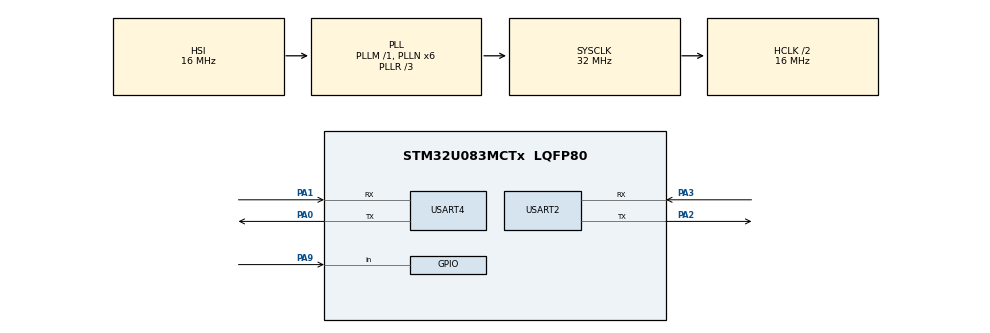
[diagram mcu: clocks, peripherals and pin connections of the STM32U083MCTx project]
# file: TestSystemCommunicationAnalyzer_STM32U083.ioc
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Mcu.Family=STM32U0
Mcu.Name=STM32U083MCTx
Mcu.Package=LQFP80
NVIC.PriorityGroup=NVIC_PRIORITYGROUP_2
NVIC.USART2_LPUART2_IRQn=true\:0\:0\:false\:false\:true\:true\:true\:true
NVIC.USART4_LPUART3_IRQn=true\:0\:0\:false\:false\:true\:true\:true\:true
PA0.Mode=Asynchronous
PA0.Signal=USART4_TX
PA1.Mode=Asynchronous
PA1.Signal=USART4_RX
PA2.Mode=Asynchronous
PA2.Signal=USART2_TX
PA3.Mode=Asynchronous
PA3.Signal=USART2_RX
PA9.Signal=GPIO_Input
ProjectManager.HeapSize=0x200
ProjectManager.StackSize=0x400
ProjectManager.TargetToolchain=MDK-ARM V5.39
RCC.ADCFreq_Value=32000000
RCC.AHBCLKDivider=RCC_SYSCLK_DIV2
RCC.AHBFreq_Value=16000000
RCC.CortexFreq_Value=16000000
RCC.HCLKFreq_Value=16000000
RCC.HSE_VALUE=4000000
RCC.HSI48_VALUE=48000000
RCC.HSI_VALUE=16000000
RCC.LSE_VALUE=32768
RCC.MSI_VALUE=4000000
RCC.PLLN=6
RCC.PLLR=RCC_PLLR_DIV3
RCC.SYSCLKFreq_VALUE=32000000
RCC.SYSCLKSource=RCC_SYSCLKSOURCE_PLLCLK
RCC.VCOOutputFreq_Value=96000000
USART2.VirtualMode-Asynchronous=VM_ASYNC
USART4.VirtualMode-Asynchronous=VM_ASYNC
VP_PWR_VS_SECSignals.Mode=Security/Privilege
board=custom

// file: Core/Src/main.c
/* USER CODE BEGIN Header */
/**
 ******************************************************************************
 * @file           : main.c
 * @brief          : Main program body
 ******************************************************************************
 * @attention
 *
 * Copyright (c) 2026 STMicroelectronics.
 * All rights reserved.
 *
 * This software is licensed under terms that can be found in the LICENSE file
 * in the root directory of this software component.
 * If no LICENSE file comes with this software, it is provided AS-IS.
 *
 ******************************************************************************
 */
/* USER CODE END Header */
#include "main.h"

/* USER CODE BEGIN Includes */
#include "stdio.h"
#include "stdint.h"
#include "stdbool.h"
#include "string.h"
/* USER CODE END Includes */

/* USER CODE BEGIN PD */
#define SUCCESS 1
#define FAILURE 0
/* USER CODE END PD */

UART_HandleTypeDef huart2;
UART_HandleTypeDef huart4;

void SystemClock_Config(void);
static void MX_GPIO_Init(void);
static void MX_USART4_UART_Init(void);
static void MX_USART2_UART_Init(void);

/* USER CODE BEGIN 0 */
typedef enum
{
  STATE_1 = 1,
  STATE_2,
  STATE_3,
  STATE_4,
  STATE_5,
  STATE_6
} AppState;

char rxBuffer[32];
uint8_t rxByte;
uint8_t rxIndex = 0;
uint8_t testStarted = 0;

void UART_SendLine(const char *msg)
{
  char buf[256];
  int len = snprintf(buf, sizeof(buf), "\r%s\n", msg);

  // TX öncesi RX interrupt'ı durdur
  HAL_UART_AbortReceive(&huart4);
  HAL_UART_Transmit(&huart4, (uint8_t *)buf, len, 100);
  HAL_UART_Receive_IT(&huart4, &rxByte, 1);
}

void HAL_UART_RxCpltCallback(UART_HandleTypeDef *huart)
{
  if (huart->Instance == USART4)
  {
    if (rxByte == '\r')
    {
      rxIndex = 0;
      memset(rxBuffer, 0, sizeof(rxBuffer));
    }
    else if (rxByte == '\n')
    {
      if (strcmp(rxBuffer, "START") == 0)
      {
        testStarted = 1;
      }
      rxIndex = 0;
      memset(rxBuffer, 0, sizeof(rxBuffer));
    }
    else
    {
      if (rxIndex < sizeof(rxBuffer) - 1)
      {
        rxBuffer[rxIndex++] = rxByte;
      }
    }

    // Bir sonraki byte için tekrar interrupt aç
    HAL_UART_Receive_IT(&huart4, &rxByte, 1);
  }
}
/* USER CODE END 0 */

int main(void)
{

  /* MCU Configuration--------------------------------------------------------*/

  /* Reset of all peripherals, Initializes the Flash interface and the Systick. */
  HAL_Init();

  /* Configure the system clock */
  SystemClock_Config();

  /* Initialize all configured peripherals */
  MX_GPIO_Init();
  MX_USART4_UART_Init();
  MX_USART2_UART_Init();
  /* USER CODE BEGIN 2 */
  HAL_UART_Receive_IT(&huart4, &rxByte, 1);
  /* USER CODE END 2 */

  /* Infinite loop */
  /* USER CODE BEGIN WHILE */
  AppState currentState = STATE_1;
  while (1)
  {
    /* USER CODE END WHILE */

    /* USER CODE BEGIN 3 */
    if (testStarted)
    {
      testStarted = 0; // Bir kere çalıştır

      bool testFailed = false;
      currentState = STATE_1; // Her testte baştan başla

      while (currentState <= STATE_6 && !testFailed)
      {
        char checkMsg[32], resultMsg[32];
        snprintf(checkMsg, sizeof(checkMsg), "Scenario %d checking...", currentState);
        UART_SendLine(checkMsg);
        HAL_Delay(3000);

        // Gerçek testte buraya donanım kontrolü gelecek
        // Şimdilik demo: hepsini success yap
        uint8_t result = currentState == STATE_6 ? FAILURE : SUCCESS;

        if (result == SUCCESS)
        {
          snprintf(resultMsg, sizeof(resultMsg), "Scenario %d is success", currentState);
          UART_SendLine(resultMsg);
          HAL_Delay(500);
          currentState++;
        }
        else
        {
          snprintf(resultMsg, sizeof(resultMsg), "Scenario %d is fail", currentState);
          UART_SendLine(resultMsg);
          HAL_Delay(500);
          testFailed = true;
        }
      }

      UART_SendLine("Test stopped!");
    }
    HAL_Delay(100);
    /* USER CODE END 3 */
  }
}
void SystemClock_Config(void)
{
  RCC_OscInitTypeDef RCC_OscInitStruct = {0};
  RCC_ClkInitTypeDef RCC_ClkInitStruct = {0};

  /** Configure the main internal regulator output voltage
   */
  HAL_PWREx_ControlVoltageScaling(PWR_REGULATOR_VOLTAGE_SCALE2);

  /** Initializes the RCC Oscillators according to the specified parameters
   * in the RCC_OscInitTypeDef structure.
   */
  RCC_OscInitStruct.OscillatorType = RCC_OSCILLATORTYPE_HSI;
  RCC_OscInitStruct.HSIState = RCC_HSI_ON;
  RCC_OscInitStruct.HSICalibrationValue = RCC_HSICALIBRATION_DEFAULT;
  RCC_OscInitStruct.PLL.PLLState = RCC_PLL_ON;
  RCC_OscInitStruct.PLL.PLLSource = RCC_PLLSOURCE_HSI;
  RCC_OscInitStruct.PLL.PLLM = RCC_PLLM_DIV1;
  RCC_OscInitStruct.PLL.PLLN = 6;
  RCC_OscInitStruct.PLL.PLLP = RCC_PLLP_DIV2;
  RCC_OscInitStruct.PLL.PLLQ = RCC_PLLQ_DIV2;
  RCC_OscInitStruct.PLL.PLLR = RCC_PLLR_DIV3;
  if (HAL_RCC_OscConfig(&RCC_OscInitStruct) != HAL_OK)
  {
    Error_Handler();
  }

  /** Initializes the CPU, AHB and APB buses clocks
   */
  RCC_ClkInitStruct.ClockType = RCC_CLOCKTYPE_HCLK | RCC_CLOCKTYPE_SYSCLK | RCC_CLOCKTYPE_PCLK1;
  RCC_ClkInitStruct.SYSCLKSource = RCC_SYSCLKSOURCE_PLLCLK;
  RCC_ClkInitStruct.AHBCLKDivider = RCC_SYSCLK_DIV2;
  RCC_ClkInitStruct.APB1CLKDivider = RCC_HCLK_DIV1;

  if (HAL_RCC_ClockConfig(&RCC_ClkInitStruct, FLASH_LATENCY_1) != HAL_OK)
  {
    Error_Handler();
  }
}

static void MX_USART2_UART_Init(void)
{

  huart2.Instance = USART2;
  huart2.Init.BaudRate = 115200;
  huart2.Init.WordLength = UART_WORDLENGTH_8B;
  huart2.Init.StopBits = UART_STOPBITS_1;
  huart2.Init.Parity = UART_PARITY_NONE;
  huart2.Init.Mode = UART_MODE_TX_RX;
  huart2.Init.HwFlowCtl = UART_HWCONTROL_NONE;
  huart2.Init.OverSampling = UART_OVERSAMPLING_16;
  huart2.Init.OneBitSampling = UART_ONE_BIT_SAMPLE_DISABLE;
  huart2.Init.ClockPrescaler = UART_PRESCALER_DIV1;
  huart2.AdvancedInit.AdvFeatureInit = UART_ADVFEATURE_NO_INIT;
  if (HAL_UART_Init(&huart2) != HAL_OK)
  {
    Error_Handler();
  }
  if (HAL_UARTEx_SetTxFifoThreshold(&huart2, UART_TXFIFO_THRESHOLD_1_8) != HAL_OK)
  {
    Error_Handler();
  }
  if (HAL_UARTEx_SetRxFifoThreshold(&huart2, UART_RXFIFO_THRESHOLD_1_8) != HAL_OK)
  {
    Error_Handler();
  }
  if (HAL_UARTEx_DisableFifoMode(&huart2) != HAL_OK)
  {
    Error_Handler();
  }
}

static void MX_USART4_UART_Init(void)
{

  huart4.Instance = USART4;
  huart4.Init.BaudRate = 115200;
  huart4.Init.WordLength = UART_WORDLENGTH_8B;
  huart4.Init.StopBits = UART_STOPBITS_1;
  huart4.Init.Parity = UART_PARITY_NONE;
  huart4.Init.Mode = UART_MODE_TX_RX;
  huart4.Init.HwFlowCtl = UART_HWCONTROL_NONE;
  huart4.Init.OverSampling = UART_OVERSAMPLING_16;
  huart4.Init.OneBitSampling = UART_ONE_BIT_SAMPLE_DISABLE;
  huart4.Init.ClockPrescaler = UART_PRESCALER_DIV1;
  huart4.AdvancedInit.AdvFeatureInit = UART_ADVFEATURE_NO_INIT;
  if (HAL_UART_Init(&huart4) != HAL_OK)
  {
    Error_Handler();
  }
  if (HAL_UARTEx_SetTxFifoThreshold(&huart4, UART_TXFIFO_THRESHOLD_1_8) != HAL_OK)
  {
    Error_Handler();
  }
  if (HAL_UARTEx_SetRxFifoThreshold(&huart4, UART_RXFIFO_THRESHOLD_1_8) != HAL_OK)
  {
    Error_Handler();
  }
  if (HAL_UARTEx_DisableFifoMode(&huart4) != HAL_OK)
  {
    Error_Handler();
  }
  /* USER CODE BEGIN USART4_Init 2 */
  HAL_NVIC_SetPriority(USART4_LPUART3_IRQn, 0, 0);
  HAL_NVIC_EnableIRQ(USART4_LPUART3_IRQn);
  /* USER CODE END USART4_Init 2 */
}

static void MX_GPIO_Init(void)
{
  GPIO_InitTypeDef GPIO_InitStruct = {0};

  /* GPIO Ports Clock Enable */
  __HAL_RCC_GPIOA_CLK_ENABLE();

  /*Configure GPIO pin : PA9 */
  GPIO_InitStruct.Pin = GPIO_PIN_9;
  GPIO_InitStruct.Mode = GPIO_MODE_INPUT;
  GPIO_InitStruct.Pull = GPIO_NOPULL;
  HAL_GPIO_Init(GPIOA, &GPIO_InitStruct);

}

void Error_Handler(void)
{
  __disable_irq();
  while (1)
  {
  }
}
